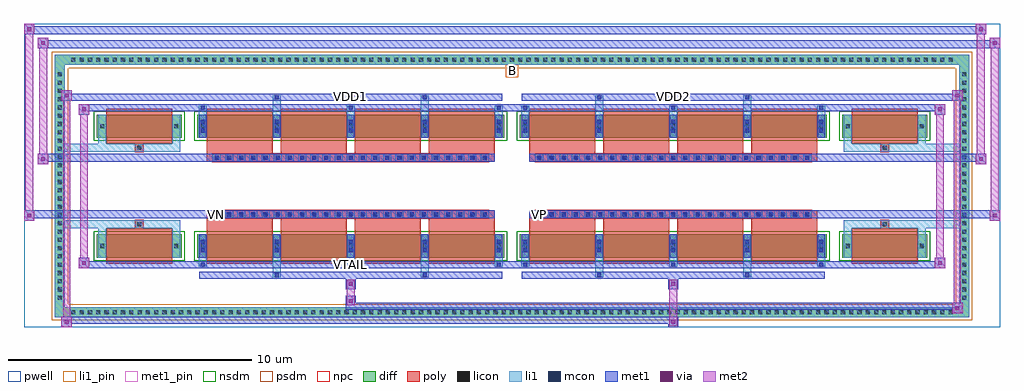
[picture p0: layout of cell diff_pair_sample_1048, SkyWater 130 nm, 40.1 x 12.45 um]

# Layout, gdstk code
import gdstk
lib = gdstk.Library(unit=1e-6, precision=5e-09)
def R(c, l, rs):  # rectangles x0, y0, x1, y1
    for r in rs: c.add(gdstk.rectangle(r[:2], r[2:], *l))
def A(c, l, x, y, w, h, nx, ny, dx, dy):  # array of equal rectangles
    R(c, l, [(x+i*dx, y+j*dy, x+i*dx+w, y+j*dy+h) for i in range(nx) for j in range(ny)])
def P(c, l, *ps):  # polygons
    for p in ps: c.add(gdstk.Polygon(p, *l))
pwell = (64, 44)
diff = (65, 20)
poly = (66, 20)
licon = (66, 44)
li1_pin = (67, 16)
li1 = (67, 20)
mcon = (67, 44)
met1_pin = (68, 16)
met1 = (68, 20)
via = (68, 44)
met2 = (69, 20)
nsdm = (93, 44)
psdm = (94, 20)
npc = (95, 20)

diff_pair_sample_1048 = lib.new_cell('diff_pair_sample_1048')
R(diff_pair_sample_1048, pwell, [(-20.05,-5.79,20.05,6.66), (-17.37,-3.98,-0.01,-0.8), (0.01,-3.98,17.37,-0.8), (-17.37,0.8,-0.01,3.98), (0.01,0.8,17.37,3.98)])
A(diff_pair_sample_1048, diff, -18.225, -5.39, 0.41, 0.41, 107, 2, 0.34, 10.37)
A(diff_pair_sample_1048, diff, -18.78, -4.795, 0.41, 0.41, 1, 28, 0, 0.34)
A(diff_pair_sample_1048, diff, 18.37, -4.795, 0.41, 0.41, 1, 28, 0, 0.34)
R(diff_pair_sample_1048, diff, [(-18.225,-5.39,18.225,-4.98), (-18.78,-4.795,-18.37,4.795), (18.37,-4.795,18.78,4.795), (-17.06,-2.935,-13.57,-1.985), (-12.93,-2.935,-0.32,-1.985), (0.32,-2.935,12.93,-1.985), (13.57,-2.935,17.06,-1.985), (-17.06,1.985,-13.57,2.935), (-12.93,1.985,-0.32,2.935), (0.32,1.985,12.93,2.935), (13.57,1.985,17.06,2.935), (-18.225,4.98,18.225,5.39)])
P(diff_pair_sample_1048, diff, [(18.78,5.39),(-18.78,5.39),(-18.78,-4.98),(-18.37,-4.98),(-18.37,4.98),(18.37,4.98),(18.37,-4.98),(-18.37,-4.98),(-18.78,-4.98),(-18.78,-5.39),(18.78,-5.39)])
A(diff_pair_sample_1048, poly, -12.54, -3.185, 2.71, 1.45, 4, 2, 3.04, 4.92)
A(diff_pair_sample_1048, poly, 0.71, -3.185, 2.71, 1.45, 4, 2, 3.04, 4.92)
A(diff_pair_sample_1048, poly, -12.54, -1.735, 2.71, 0.405, 4, 2, 3.04, 3.065)
A(diff_pair_sample_1048, poly, 0.71, -1.735, 2.71, 0.405, 4, 2, 3.04, 3.065)
A(diff_pair_sample_1048, poly, -12.29, -1.33, 0.33, 0.33, 23, 2, 0.5, 2.33)
A(diff_pair_sample_1048, poly, 0.96, -1.33, 0.33, 0.33, 23, 2, 0.5, 2.33)
R(diff_pair_sample_1048, poly, [(-16.67,-3.185,-13.96,-1.735), (13.96,-3.185,16.67,-1.735), (-15.48,-1.735,-15.15,-1.405), (-15.48,-1.735,-15.15,-1.405), (15.15,-1.735,15.48,-1.405), (15.15,-1.735,15.48,-1.405), (-12.54,-1.33,-0.71,-1), (0.71,-1.33,12.54,-1), (-12.54,1,-0.71,1.33), (0.71,1,12.54,1.33), (-15.48,1.405,-15.15,1.735), (-15.48,1.405,-15.15,1.735), (15.15,1.405,15.48,1.735), (15.15,1.405,15.48,1.735), (-16.67,1.735,-13.96,3.185), (13.96,1.735,16.67,3.185)])
A(diff_pair_sample_1048, licon, -18.105, -5.27, 0.17, 0.17, 107, 2, 0.34, 10.37)
A(diff_pair_sample_1048, licon, -18.66, -4.675, 0.17, 0.17, 1, 28, 0, 0.34)
A(diff_pair_sample_1048, licon, 18.49, -4.675, 0.17, 0.17, 1, 28, 0, 0.34)
A(diff_pair_sample_1048, licon, -12.79, -2.545, 0.17, 0.17, 5, 2, 3.04, 4.92)
A(diff_pair_sample_1048, licon, 0.46, -2.545, 0.17, 0.17, 5, 2, 3.04, 4.92)
A(diff_pair_sample_1048, licon, -12.21, -1.25, 0.17, 0.17, 23, 2, 0.5, 2.33)
A(diff_pair_sample_1048, licon, 1.04, -1.25, 0.17, 0.17, 23, 2, 0.5, 2.33)
R(diff_pair_sample_1048, licon, [(-16.92,-2.545,-16.75,-2.375), (-13.88,-2.545,-13.71,-2.375), (13.71,-2.545,13.88,-2.375), (16.75,-2.545,16.92,-2.375), (-15.4,-1.655,-15.23,-1.485), (15.23,-1.655,15.4,-1.485), (-15.4,1.485,-15.23,1.655), (15.23,1.485,15.4,1.655), (-16.92,2.375,-16.75,2.545), (-13.88,2.375,-13.71,2.545), (13.71,2.375,13.88,2.545), (16.75,2.375,16.92,2.545)])
R(diff_pair_sample_1048, li1_pin, [(-0.25,4.48,0.25,4.98)])
A(diff_pair_sample_1048, li1, -18.185, -5.35, 0.33, 0.33, 107, 2, 0.34, 10.37)
A(diff_pair_sample_1048, li1, -18.74, -4.755, 0.33, 0.33, 1, 28, 0, 0.34)
A(diff_pair_sample_1048, li1, 18.41, -4.755, 0.33, 0.33, 1, 28, 0, 0.34)
A(diff_pair_sample_1048, li1, -12.87, -3.31, 0.33, 0.375, 3, 2, 6.08, 6.245)
A(diff_pair_sample_1048, li1, -12.79, -3.31, 0.17, 0.17, 3, 2, 6.08, 6.45)
A(diff_pair_sample_1048, li1, 0.38, -3.31, 0.33, 0.375, 3, 2, 6.08, 6.245)
A(diff_pair_sample_1048, li1, 0.46, -3.31, 0.17, 0.17, 3, 2, 6.08, 6.45)
A(diff_pair_sample_1048, li1, -12.87, -2.935, 0.33, 0.95, 5, 2, 3.04, 4.92)
A(diff_pair_sample_1048, li1, 0.38, -2.935, 0.33, 0.95, 5, 2, 3.04, 4.92)
A(diff_pair_sample_1048, li1, -12.79, -2.725, 0.17, 0.17, 5, 2, 3.04, 0.36)
A(diff_pair_sample_1048, li1, -12.79, -2.725, 0.17, 0.53, 5, 2, 3.04, 4.92)
A(diff_pair_sample_1048, li1, 0.46, -2.725, 0.17, 0.17, 5, 2, 3.04, 0.36)
A(diff_pair_sample_1048, li1, 0.46, -2.725, 0.17, 0.53, 5, 2, 3.04, 4.92)
A(diff_pair_sample_1048, li1, -12.87, -2.625, 0.33, 0.33, 5, 2, 3.04, 4.92)
A(diff_pair_sample_1048, li1, 0.38, -2.625, 0.33, 0.33, 5, 2, 3.04, 4.92)
A(diff_pair_sample_1048, li1, -12.29, -1.33, 0.33, 0.33, 23, 2, 0.5, 2.33)
A(diff_pair_sample_1048, li1, 0.96, -1.33, 0.33, 0.33, 23, 2, 0.5, 2.33)
A(diff_pair_sample_1048, li1, -12.79, 2.195, 0.17, 0.17, 5, 2, 3.04, 0.36)
A(diff_pair_sample_1048, li1, 0.46, 2.195, 0.17, 0.17, 5, 2, 3.04, 0.36)
R(diff_pair_sample_1048, li1, [(-18.78,-5.39,-18.37,-4.98), (-18.78,-5.39,-18.37,-4.98), (-18.37,-5.39,18.37,-4.98), (18.37,-5.39,18.78,-4.98), (18.37,-5.39,18.78,-4.98), (-18.78,-4.98,-18.37,4.98), (18.37,-4.98,18.78,4.98), (-9.83,-3.74,-9.5,-2.935), (-9.75,-3.74,-9.58,-3.57), (-3.75,-3.74,-3.42,-2.935), (-3.67,-3.74,-3.5,-3.57), (3.42,-3.74,3.75,-2.935), (3.5,-3.74,3.67,-3.57), (9.5,-3.74,9.83,-2.935), (9.58,-3.74,9.75,-3.57), (-17,-2.935,-16.67,-1.985), (-13.96,-2.935,-13.63,-1.985), (13.63,-2.935,13.96,-1.985), (16.67,-2.935,17,-1.985), (-17,-2.625,-16.67,-2.295), (-13.96,-2.625,-13.63,-2.295), (13.63,-2.625,13.96,-2.295), (16.67,-2.625,17,-2.295), (-17,-1.985,-16.67,-1.405), (-13.96,-1.985,-13.63,-1.405), (13.63,-1.985,13.96,-1.405), (16.67,-1.985,17,-1.405), (-18.78,-1.735,-15.48,-1.405), (-17,-1.735,-15.48,-1.405), (-15.48,-1.735,-15.15,-1.405), (-15.15,-1.735,-13.63,-1.405), (13.63,-1.735,15.15,-1.405), (15.15,-1.735,15.48,-1.405), (15.15,-1.735,18.78,-1.405), (15.48,-1.735,17,-1.405), (-18.78,1.405,-15.48,1.735), (-17,1.405,-15.48,1.735), (-17,1.405,-16.67,1.985), (-15.48,1.405,-15.15,1.735), (-15.15,1.405,-13.63,1.735), (-13.96,1.405,-13.63,1.985), (13.63,1.405,15.15,1.735), (13.63,1.405,13.96,1.985), (15.15,1.405,15.48,1.735), (15.15,1.405,18.78,1.735), (15.48,1.405,17,1.735), (16.67,1.405,17,1.985), (-17,1.985,-16.67,2.935), (-13.96,1.985,-13.63,2.935), (13.63,1.985,13.96,2.935), (16.67,1.985,17,2.935), (-17,2.295,-16.67,2.625), (-13.96,2.295,-13.63,2.625), (13.63,2.295,13.96,2.625), (16.67,2.295,17,2.625), (-9.83,2.935,-9.5,3.74), (-3.75,2.935,-3.42,3.74), (3.42,2.935,3.75,3.74), (9.5,2.935,9.83,3.74), (-9.75,3.57,-9.58,3.74), (-3.67,3.57,-3.5,3.74), (3.5,3.57,3.67,3.74), (9.58,3.57,9.75,3.74), (-18.78,4.98,-18.37,5.39), (-18.78,4.98,-18.37,5.39), (-18.37,4.98,18.37,5.39), (18.37,4.98,18.78,5.39), (18.37,4.98,18.78,5.39)])
A(diff_pair_sample_1048, mcon, -12.79, -3.31, 0.17, 0.17, 3, 2, 6.08, 6.45)
A(diff_pair_sample_1048, mcon, 0.46, -3.31, 0.17, 0.17, 3, 2, 6.08, 6.45)
A(diff_pair_sample_1048, mcon, -12.79, -2.725, 0.17, 0.17, 5, 2, 3.04, 0.36)
A(diff_pair_sample_1048, mcon, 0.46, -2.725, 0.17, 0.17, 5, 2, 3.04, 0.36)
A(diff_pair_sample_1048, mcon, -12.21, -1.25, 0.17, 0.17, 23, 2, 0.5, 2.33)
A(diff_pair_sample_1048, mcon, 1.04, -1.25, 0.17, 0.17, 23, 2, 0.5, 2.33)
A(diff_pair_sample_1048, mcon, -12.79, 2.195, 0.17, 0.17, 5, 2, 3.04, 0.36)
A(diff_pair_sample_1048, mcon, 0.46, 2.195, 0.17, 0.17, 5, 2, 3.04, 0.36)
R(diff_pair_sample_1048, mcon, [(-9.75,-3.74,-9.58,-3.57), (-3.67,-3.74,-3.5,-3.57), (3.5,-3.74,3.67,-3.57), (9.58,-3.74,9.75,-3.57), (-9.75,3.57,-9.58,3.74), (-3.67,3.57,-3.5,3.74), (3.5,3.57,3.67,3.74), (9.58,3.57,9.75,3.74)])
R(diff_pair_sample_1048, met1_pin, [(-6.76,-3.35,-6.49,-3.08), (-12.26,-1.29,-11.99,-1.02), (0.99,-1.29,1.26,-1.02), (-6.76,3.53,-6.49,3.8), (6.49,3.53,6.76,3.8)])
A(diff_pair_sample_1048, met1, -12.85, -3.37, 0.29, 0.29, 3, 2, 6.08, 6.45)
A(diff_pair_sample_1048, met1, 0.4, -3.37, 0.29, 0.29, 3, 2, 6.08, 6.45)
A(diff_pair_sample_1048, met1, -12.85, -2.935, 0.29, 0.95, 5, 2, 3.04, 4.92)
A(diff_pair_sample_1048, met1, 0.4, -2.935, 0.29, 0.95, 5, 2, 3.04, 4.92)
A(diff_pair_sample_1048, met1, -12.85, -2.785, 0.29, 0.29, 5, 2, 3.04, 0.36)
A(diff_pair_sample_1048, met1, 0.4, -2.785, 0.29, 0.29, 5, 2, 3.04, 0.36)
A(diff_pair_sample_1048, met1, -12.27, -1.31, 0.29, 0.29, 23, 2, 0.5, 2.33)
A(diff_pair_sample_1048, met1, 0.98, -1.31, 0.29, 0.29, 23, 2, 0.5, 2.33)
A(diff_pair_sample_1048, met1, -12.85, 2.135, 0.29, 0.29, 5, 2, 3.04, 0.36)
A(diff_pair_sample_1048, met1, 0.4, 2.135, 0.29, 0.29, 5, 2, 3.04, 0.36)
R(diff_pair_sample_1048, met1, [(-18.51,-5.79,-18.08,-5.36), (6.41,-5.79,6.84,-5.36), (-18.51,-5.65,6.84,-5.36), (18.08,-5.22,18.51,-4.79), (-6.84,-5.08,18.51,-4.79), (-6.84,-4.94,-6.41,-4.51), (-6.84,-4.23,-6.41,-3.8), (6.41,-4.23,6.84,-3.8), (-12.85,-3.8,-0.4,-3.51), (-9.81,-3.8,-9.52,-3.51), (-3.73,-3.8,-3.44,-3.51), (0.4,-3.8,12.85,-3.51), (3.44,-3.8,3.73,-3.51), (9.52,-3.8,9.81,-3.51), (-17.8,-3.37,-17.37,-2.94), (-17.8,-3.37,-12.85,-3.08), (-12.85,-3.37,-0.4,-3.08), (-0.4,-3.37,0.4,-3.08), (0.4,-3.37,12.85,-3.08), (12.85,-3.37,17.8,-3.08), (17.37,-3.37,17.8,-2.94), (-20.05,-1.43,-19.62,-1), (19.62,-1.43,20.05,-1), (-20.05,-1.33,-0.71,-1), (-12.54,-1.33,-0.71,-1), (0.71,-1.33,12.54,-1), (0.71,-1.33,20.05,-1), (-19.48,0.9,-19.05,1.33), (19.05,0.9,19.48,1.33), (-19.48,1,-12.54,1.33), (-12.54,1,-0.71,1.33), (0.71,1,12.54,1.33), (12.54,1,19.48,1.33), (-17.8,2.94,-17.37,3.37), (17.37,2.94,17.8,3.37), (-17.8,3.08,-12.85,3.37), (-12.85,3.08,-0.4,3.37), (-0.4,3.08,0.4,3.37), (0.4,3.08,12.85,3.37), (12.85,3.08,17.8,3.37), (-18.51,3.51,-18.08,3.94), (-18.51,3.51,-12.85,3.8), (-12.85,3.51,-0.4,3.8), (-9.81,3.51,-9.52,3.8), (-3.73,3.51,-3.44,3.8), (0.4,3.51,12.85,3.8), (3.44,3.51,3.73,3.8), (9.52,3.51,9.81,3.8), (12.85,3.51,18.51,3.8), (18.08,3.51,18.51,3.94), (-19.48,5.66,-19.05,6.09), (-19.48,5.66,-17.37,5.99), (-17.37,5.66,17.37,5.99), (17.37,5.66,20.05,5.99), (19.62,5.66,20.05,6.09), (-20.05,6.23,-19.62,6.66), (-20.05,6.23,-17.37,6.56), (-17.37,6.23,17.37,6.56), (17.37,6.23,19.48,6.56), (19.05,6.23,19.48,6.66)])
R(diff_pair_sample_1048, via, [(-18.37,-5.65,-18.22,-5.5), (6.55,-5.65,6.7,-5.5), (18.22,-5.08,18.37,-4.93), (-6.7,-4.8,-6.55,-4.65), (-6.7,-4.09,-6.55,-3.94), (6.55,-4.09,6.7,-3.94), (-17.66,-3.23,-17.51,-3.08), (17.51,-3.23,17.66,-3.08), (-19.91,-1.29,-19.76,-1.14), (19.76,-1.29,19.91,-1.14), (-19.34,1.04,-19.19,1.19), (19.19,1.04,19.34,1.19), (-17.66,3.08,-17.51,3.23), (17.51,3.08,17.66,3.23), (-18.37,3.65,-18.22,3.8), (18.22,3.65,18.37,3.8), (-19.34,5.8,-19.19,5.95), (19.76,5.8,19.91,5.95), (-19.91,6.37,-19.76,6.52), (19.19,6.37,19.34,6.52)])
R(diff_pair_sample_1048, met2, [(-18.51,-5.79,-18.08,-5.36), (-18.44,-5.79,-18.15,3.94), (-18.15,-5.79,-18.08,-5.36), (-18.46,-5.74,-18.13,-5.41), (6.46,-5.74,6.79,-5.41), (6.46,-5.41,6.79,-4.18), (18.08,-5.22,18.51,-4.79), (18.15,-5.22,18.44,3.94), (18.44,-5.22,18.51,-4.79), (18.13,-5.17,18.46,-4.84), (-6.79,-4.89,-6.46,-4.56), (-6.79,-4.56,-6.46,-4.18), (-6.79,-4.18,-6.46,-3.85), (6.46,-4.18,6.79,-3.85), (-17.8,-3.37,-17.37,-2.94), (-17.73,-3.37,-17.44,3.37), (-17.44,-3.37,-17.37,-2.94), (17.37,-3.37,17.8,-2.94), (17.44,-3.37,17.73,3.37), (17.73,-3.37,17.8,-2.94), (-17.75,-3.32,-17.42,-2.99), (17.42,-3.32,17.75,-2.99), (-20.05,-1.43,-19.62,-1), (-20,-1.43,-19.67,6.66), (-19.67,-1.43,-19.62,-1), (19.62,-1.43,20.05,-1), (19.67,-1.43,20,6.09), (20,-1.43,20.05,-1), (-20,-1.38,-19.67,-1.05), (19.67,-1.38,20,-1.05), (-19.48,0.9,-19.05,1.33), (-19.43,0.9,-19.1,6.09), (-19.1,0.9,-19.05,1.33), (19.05,0.9,19.48,1.33), (19.1,0.9,19.43,6.66), (19.43,0.9,19.48,1.33), (-19.43,0.95,-19.1,1.28), (19.1,0.95,19.43,1.28), (-17.8,2.94,-17.37,3.37), (-17.44,2.94,-17.37,3.37), (17.37,2.94,17.8,3.37), (17.73,2.94,17.8,3.37), (-17.75,2.99,-17.42,3.32), (17.42,2.99,17.75,3.32), (-18.51,3.51,-18.08,3.94), (-18.15,3.51,-18.08,3.94), (18.08,3.51,18.51,3.94), (18.44,3.51,18.51,3.94), (-18.46,3.56,-18.13,3.89), (18.13,3.56,18.46,3.89), (-19.48,5.66,-19.05,6.09), (-19.1,5.66,-19.05,6.09), (19.62,5.66,20.05,6.09), (20,5.66,20.05,6.09), (-19.43,5.71,-19.1,6.04), (19.67,5.71,20,6.04), (-20.05,6.23,-19.62,6.66), (-19.67,6.23,-19.62,6.66), (19.05,6.23,19.48,6.66), (19.43,6.23,19.48,6.66), (-20,6.28,-19.67,6.61), (19.1,6.28,19.43,6.61)])
R(diff_pair_sample_1048, nsdm, [(-17.19,-3.065,-13.44,-1.855), (-13.06,-3.065,-0.19,-1.855), (0.19,-3.065,13.06,-1.855), (13.44,-3.065,17.19,-1.855), (-17.19,1.855,-13.44,3.065), (-13.06,1.855,-0.19,3.065), (0.19,1.855,13.06,3.065), (13.44,1.855,17.19,3.065)])
P(diff_pair_sample_1048, psdm, [(18.91,5.52),(-18.91,5.52),(-18.91,-4.85),(-18.24,-4.85),(-18.24,4.85),(18.24,4.85),(18.24,-4.85),(-18.24,-4.85),(-18.91,-4.85),(-18.91,-5.52),(18.91,-5.52)])
A(diff_pair_sample_1048, npc, -12.31, -1.35, 0.37, 0.37, 23, 2, 0.5, 2.33)
A(diff_pair_sample_1048, npc, 0.94, -1.35, 0.37, 0.37, 23, 2, 0.5, 2.33)
R(diff_pair_sample_1048, npc, [(-15.5,-1.755,-15.13,-1.385), (15.13,-1.755,15.5,-1.385), (-12.31,-1.35,-11.44,-0.98), (-12.31,-1.35,-11.44,-0.98), (-11.81,-1.35,-10.94,-0.98), (-11.81,-1.35,-10.94,-0.98), (-11.31,-1.35,-10.44,-0.98), (-11.31,-1.35,-10.44,-0.98), (-10.81,-1.35,-9.94,-0.98), (-10.81,-1.35,-9.94,-0.98), (-10.31,-1.35,-9.44,-0.98), (-10.31,-1.35,-9.44,-0.98), (-9.81,-1.35,-8.94,-0.98), (-9.81,-1.35,-8.94,-0.98), (-9.31,-1.35,-8.44,-0.98), (-9.31,-1.35,-8.44,-0.98), (-8.81,-1.35,-7.94,-0.98), (-8.81,-1.35,-7.94,-0.98), (-8.31,-1.35,-7.44,-0.98), (-8.31,-1.35,-7.44,-0.98), (-7.81,-1.35,-6.94,-0.98), (-7.81,-1.35,-6.94,-0.98), (-7.31,-1.35,-6.44,-0.98), (-7.31,-1.35,-6.44,-0.98), (-6.81,-1.35,-5.94,-0.98), (-6.81,-1.35,-5.94,-0.98), (-6.31,-1.35,-5.44,-0.98), (-6.31,-1.35,-5.44,-0.98), (-5.81,-1.35,-4.94,-0.98), (-5.81,-1.35,-4.94,-0.98), (-5.31,-1.35,-4.44,-0.98), (-5.31,-1.35,-4.44,-0.98), (-4.81,-1.35,-3.94,-0.98), (-4.81,-1.35,-3.94,-0.98), (-4.31,-1.35,-3.44,-0.98), (-4.31,-1.35,-3.44,-0.98), (-3.81,-1.35,-2.94,-0.98), (-3.81,-1.35,-2.94,-0.98), (-3.31,-1.35,-2.44,-0.98), (-3.31,-1.35,-2.44,-0.98), (-2.81,-1.35,-1.94,-0.98), (-2.81,-1.35,-1.94,-0.98), (-2.31,-1.35,-1.44,-0.98), (-2.31,-1.35,-1.44,-0.98), (-1.81,-1.35,-0.94,-0.98), (-1.81,-1.35,-0.94,-0.98), (0.94,-1.35,1.81,-0.98), (0.94,-1.35,1.81,-0.98), (1.44,-1.35,2.31,-0.98), (1.44,-1.35,2.31,-0.98), (1.94,-1.35,2.81,-0.98), (1.94,-1.35,2.81,-0.98), (2.44,-1.35,3.31,-0.98), (2.44,-1.35,3.31,-0.98), (2.94,-1.35,3.81,-0.98), (2.94,-1.35,3.81,-0.98), (3.44,-1.35,4.31,-0.98), (3.44,-1.35,4.31,-0.98), (3.94,-1.35,4.81,-0.98), (3.94,-1.35,4.81,-0.98), (4.44,-1.35,5.31,-0.98), (4.44,-1.35,5.31,-0.98), (4.94,-1.35,5.81,-0.98), (4.94,-1.35,5.81,-0.98), (5.44,-1.35,6.31,-0.98), (5.44,-1.35,6.31,-0.98), (5.94,-1.35,6.81,-0.98), (5.94,-1.35,6.81,-0.98), (6.44,-1.35,7.31,-0.98), (6.44,-1.35,7.31,-0.98), (6.94,-1.35,7.81,-0.98), (6.94,-1.35,7.81,-0.98), (7.44,-1.35,8.31,-0.98), (7.44,-1.35,8.31,-0.98), (7.94,-1.35,8.81,-0.98), (7.94,-1.35,8.81,-0.98), (8.44,-1.35,9.31,-0.98), (8.44,-1.35,9.31,-0.98), (8.94,-1.35,9.81,-0.98), (8.94,-1.35,9.81,-0.98), (9.44,-1.35,10.31,-0.98), (9.44,-1.35,10.31,-0.98), (9.94,-1.35,10.81,-0.98), (9.94,-1.35,10.81,-0.98), (10.44,-1.35,11.31,-0.98), (10.44,-1.35,11.31,-0.98), (10.94,-1.35,11.81,-0.98), (10.94,-1.35,11.81,-0.98), (11.44,-1.35,12.31,-0.98), (11.44,-1.35,12.31,-0.98), (-12.31,0.98,-11.44,1.35), (-12.31,0.98,-11.44,1.35), (-11.81,0.98,-10.94,1.35), (-11.81,0.98,-10.94,1.35), (-11.31,0.98,-10.44,1.35), (-11.31,0.98,-10.44,1.35), (-10.81,0.98,-9.94,1.35), (-10.81,0.98,-9.94,1.35), (-10.31,0.98,-9.44,1.35), (-10.31,0.98,-9.44,1.35), (-9.81,0.98,-8.94,1.35), (-9.81,0.98,-8.94,1.35), (-9.31,0.98,-8.44,1.35), (-9.31,0.98,-8.44,1.35), (-8.81,0.98,-7.94,1.35), (-8.81,0.98,-7.94,1.35), (-8.31,0.98,-7.44,1.35), (-8.31,0.98,-7.44,1.35), (-7.81,0.98,-6.94,1.35), (-7.81,0.98,-6.94,1.35), (-7.31,0.98,-6.44,1.35), (-7.31,0.98,-6.44,1.35), (-6.81,0.98,-5.94,1.35), (-6.81,0.98,-5.94,1.35), (-6.31,0.98,-5.44,1.35), (-6.31,0.98,-5.44,1.35), (-5.81,0.98,-4.94,1.35), (-5.81,0.98,-4.94,1.35), (-5.31,0.98,-4.44,1.35), (-5.31,0.98,-4.44,1.35), (-4.81,0.98,-3.94,1.35), (-4.81,0.98,-3.94,1.35), (-4.31,0.98,-3.44,1.35), (-4.31,0.98,-3.44,1.35), (-3.81,0.98,-2.94,1.35), (-3.81,0.98,-2.94,1.35), (-3.31,0.98,-2.44,1.35), (-3.31,0.98,-2.44,1.35), (-2.81,0.98,-1.94,1.35), (-2.81,0.98,-1.94,1.35), (-2.31,0.98,-1.44,1.35), (-2.31,0.98,-1.44,1.35), (-1.81,0.98,-0.94,1.35), (-1.81,0.98,-0.94,1.35), (0.94,0.98,1.81,1.35), (0.94,0.98,1.81,1.35), (1.44,0.98,2.31,1.35), (1.44,0.98,2.31,1.35), (1.94,0.98,2.81,1.35), (1.94,0.98,2.81,1.35), (2.44,0.98,3.31,1.35), (2.44,0.98,3.31,1.35), (2.94,0.98,3.81,1.35), (2.94,0.98,3.81,1.35), (3.44,0.98,4.31,1.35), (3.44,0.98,4.31,1.35), (3.94,0.98,4.81,1.35), (3.94,0.98,4.81,1.35), (4.44,0.98,5.31,1.35), (4.44,0.98,5.31,1.35), (4.94,0.98,5.81,1.35), (4.94,0.98,5.81,1.35), (5.44,0.98,6.31,1.35), (5.44,0.98,6.31,1.35), (5.94,0.98,6.81,1.35), (5.94,0.98,6.81,1.35), (6.44,0.98,7.31,1.35), (6.44,0.98,7.31,1.35), (6.94,0.98,7.81,1.35), (6.94,0.98,7.81,1.35), (7.44,0.98,8.31,1.35), (7.44,0.98,8.31,1.35), (7.94,0.98,8.81,1.35), (7.94,0.98,8.81,1.35), (8.44,0.98,9.31,1.35), (8.44,0.98,9.31,1.35), (8.94,0.98,9.81,1.35), (8.94,0.98,9.81,1.35), (9.44,0.98,10.31,1.35), (9.44,0.98,10.31,1.35), (9.94,0.98,10.81,1.35), (9.94,0.98,10.81,1.35), (10.44,0.98,11.31,1.35), (10.44,0.98,11.31,1.35), (10.94,0.98,11.81,1.35), (10.94,0.98,11.81,1.35), (11.44,0.98,12.31,1.35), (11.44,0.98,12.31,1.35), (-15.5,1.385,-15.13,1.755), (15.13,1.385,15.5,1.755)])
diff_pair_sample_1048.add(gdstk.Label('VTAIL', (-6.625,-3.215), layer=68, texttype=5))
diff_pair_sample_1048.add(gdstk.Label('VN', (-12.125,-1.155), layer=68, texttype=5))
diff_pair_sample_1048.add(gdstk.Label('VP', (1.125,-1.155), layer=68, texttype=5))
diff_pair_sample_1048.add(gdstk.Label('B', (0,4.73), layer=67, texttype=5))
diff_pair_sample_1048.add(gdstk.Label('VDD2', (6.625,3.665), layer=68, texttype=5))
diff_pair_sample_1048.add(gdstk.Label('VDD1', (-6.625,3.665), layer=68, texttype=5))

lib.write_gds('diff_pair_sample_1048.gds')
